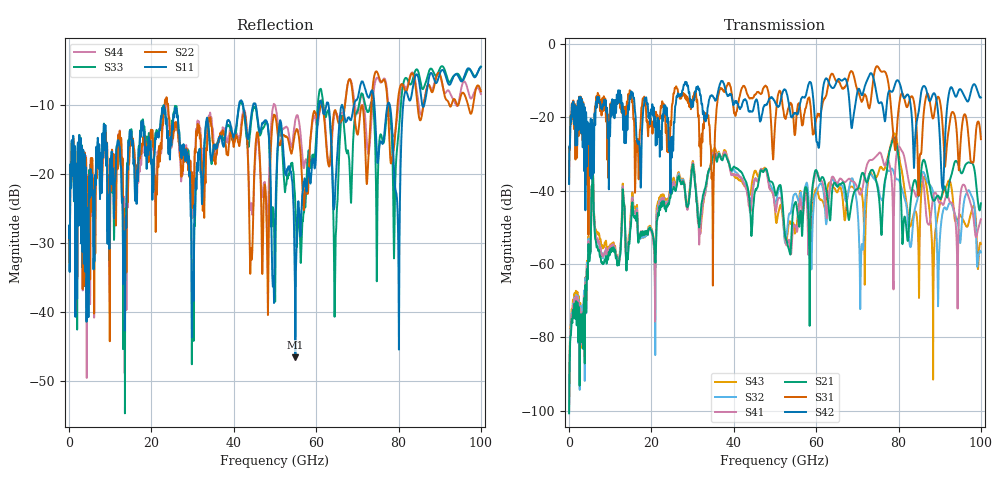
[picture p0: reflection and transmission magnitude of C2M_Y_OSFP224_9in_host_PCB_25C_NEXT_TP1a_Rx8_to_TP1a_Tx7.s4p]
# GHz S RI R 45
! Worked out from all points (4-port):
!   4000 points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, 25 MHz to 100 GHz, reference 45 ohm
!   strongest paths, dB at 25 MHz, 25.02 GHz, 50.02 GHz, 75.03 GHz, 100 GHz:
!     S42: -38.2, -30.2, -15.9, -15.6, -14.6
!     S31: -37.9, -16.5, -21.9, -6.2, -26.0
!     S21: -100.7, -40.4, -40.7, -39.9, -43.5
!     S41: -99.8, -38.7, -45.0, -30.1, -47.8
!     S32: -98.9, -39.3, -43.7, -38.9, -56.9
!     S43: -98.1, -37.6, -45.2, -35.5, -54.5
!   lowest |S11| = -46.5 dB at 54.95 GHz (marker M1), VSWR 1.01, Z = 45.4 - j0.0114 ohm
!   |S11| at or under -10 dB: start of sweep to 41.3 GHz; 45.31 GHz to 60.73 GHz (15.42 GHz wide, 29.1 % of centre); 63 GHz to 69.2 GHz (6.206 GHz wide, 9.39 % of centre)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
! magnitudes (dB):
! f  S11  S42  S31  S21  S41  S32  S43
! 25 MHz  -29.3  -38.2  -37.9  -100.7  -99.8  -98.9  -98.1
! 5.825 GHz  -23.1  -26.2  -29.4  -35.2  -34.9  -35.1  -34.7
! 54.95 GHz  -46.5  -18.8  -24.2  -43.2  -49.5  -40.8  -51.3
! 70.97 GHz  -6.7  -13.9  -15.6  -35.8  -40.6  -56.0  -40.0
! 79 GHz  -20.6  -11.6  -27.6  -25.5  -39.8  -35.7  -24.4
! 90.67 GHz  -5.0  -39.5  -21.7  -40.4  -43.7  -46.2  -41.1
! 100 GHz  -4.5  -14.6  -26.0  -43.5  -47.8  -56.9  -54.5
